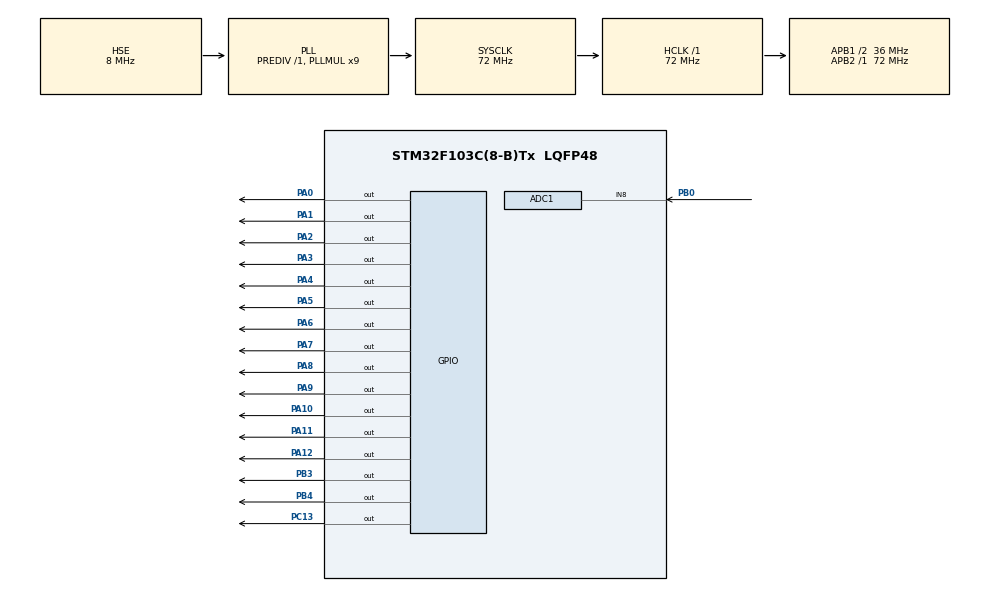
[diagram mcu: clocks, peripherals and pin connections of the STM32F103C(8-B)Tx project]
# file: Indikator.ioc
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ADC1.Channel-1\#ChannelRegularConversion=ADC_CHANNEL_8
ADC1.NbrOfConversion=1
ADC1.NbrOfConversionFlag=1
ADC1.Rank-1\#ChannelRegularConversion=1
ADC1.SamplingTime-1\#ChannelRegularConversion=ADC_SAMPLETIME_1CYCLE_5
ADC1.master=1
Mcu.Family=STM32F1
Mcu.Name=STM32F103C(8-B)Tx
Mcu.Package=LQFP48
NVIC.PriorityGroup=NVIC_PRIORITYGROUP_4
NVIC.TIM2_IRQn=true\:0\:0\:false\:false\:true\:true\:true
NVIC.TIM3_IRQn=true\:0\:0\:false\:false\:true\:true\:true
NVIC.TIM4_IRQn=true\:0\:0\:false\:false\:true\:true\:true
PA0-WKUP.GPIO_ModeDefaultOutputPP=GPIO_MODE_OUTPUT_OD
PA0-WKUP.GPIO_PuPd=GPIO_NOPULL
PA0-WKUP.GPIO_Speed=GPIO_SPEED_FREQ_HIGH
PA0-WKUP.Signal=GPIO_Output
PA1.GPIO_ModeDefaultOutputPP=GPIO_MODE_OUTPUT_OD
PA1.GPIO_PuPd=GPIO_NOPULL
PA1.GPIO_Speed=GPIO_SPEED_FREQ_HIGH
PA1.Signal=GPIO_Output
PA10.GPIO_Speed=GPIO_SPEED_FREQ_HIGH
PA10.Signal=GPIO_Output
PA11.GPIO_Speed=GPIO_SPEED_FREQ_HIGH
PA11.Signal=GPIO_Output
PA12.GPIO_Speed=GPIO_SPEED_FREQ_HIGH
PA12.Signal=GPIO_Output
PA13.Mode=Serial_Wire
PA13.Signal=SYS_JTMS-SWDIO
PA14.Mode=Serial_Wire
PA14.Signal=SYS_JTCK-SWCLK
PA2.GPIO_ModeDefaultOutputPP=GPIO_MODE_OUTPUT_OD
PA2.GPIO_PuPd=GPIO_NOPULL
PA2.GPIO_Speed=GPIO_SPEED_FREQ_HIGH
PA2.Signal=GPIO_Output
PA3.GPIO_ModeDefaultOutputPP=GPIO_MODE_OUTPUT_OD
PA3.GPIO_PuPd=GPIO_NOPULL
PA3.GPIO_Speed=GPIO_SPEED_FREQ_HIGH
PA3.Signal=GPIO_Output
PA4.GPIO_ModeDefaultOutputPP=GPIO_MODE_OUTPUT_OD
PA4.GPIO_PuPd=GPIO_NOPULL
PA4.GPIO_Speed=GPIO_SPEED_FREQ_HIGH
PA4.Signal=GPIO_Output
PA5.GPIO_ModeDefaultOutputPP=GPIO_MODE_OUTPUT_OD
PA5.GPIO_PuPd=GPIO_NOPULL
PA5.GPIO_Speed=GPIO_SPEED_FREQ_HIGH
PA5.Signal=GPIO_Output
PA6.GPIO_ModeDefaultOutputPP=GPIO_MODE_OUTPUT_OD
PA6.GPIO_PuPd=GPIO_NOPULL
PA6.GPIO_Speed=GPIO_SPEED_FREQ_HIGH
PA6.Signal=GPIO_Output
PA7.GPIO_ModeDefaultOutputPP=GPIO_MODE_OUTPUT_OD
PA7.GPIO_PuPd=GPIO_NOPULL
PA7.GPIO_Speed=GPIO_SPEED_FREQ_HIGH
PA7.Signal=GPIO_Output
PA8.GPIO_Speed=GPIO_SPEED_FREQ_HIGH
PA8.Signal=GPIO_Output
PA9.GPIO_Speed=GPIO_SPEED_FREQ_HIGH
PA9.Signal=GPIO_Output
PB0.Signal=ADCx_IN8
PB3.GPIO_Speed=GPIO_SPEED_FREQ_HIGH
PB3.Signal=GPIO_Output
PB4.GPIO_ModeDefaultOutputPP=GPIO_MODE_OUTPUT_PP
PB4.GPIO_PuPd=GPIO_PULLDOWN
PB4.GPIO_Speed=GPIO_SPEED_FREQ_HIGH
PB4.Signal=GPIO_Output
PC13-TAMPER-RTC.GPIO_Speed=GPIO_SPEED_FREQ_HIGH
PC13-TAMPER-RTC.Signal=GPIO_Output
PC14-OSC32_IN.Mode=LSE-External-Oscillator
PC14-OSC32_IN.Signal=RCC_OSC32_IN
PC15-OSC32_OUT.Mode=LSE-External-Oscillator
PC15-OSC32_OUT.Signal=RCC_OSC32_OUT
PD0-OSC_IN.Mode=HSE-External-Oscillator
PD0-OSC_IN.Signal=RCC_OSC_IN
PD1-OSC_OUT.Mode=HSE-External-Oscillator
PD1-OSC_OUT.Signal=RCC_OSC_OUT
ProjectManager.HeapSize=0x200
ProjectManager.StackSize=0x400
ProjectManager.TargetToolchain=EWARM V7
RCC.ADCPresc=RCC_ADCPCLK2_DIV6
RCC.AHBFreq_Value=72000000
RCC.APB1CLKDivider=RCC_HCLK_DIV2
RCC.APB1Freq_Value=36000000
RCC.APB1TimFreq_Value=72000000
RCC.APB2Freq_Value=72000000
RCC.APB2TimFreq_Value=72000000
RCC.HCLKFreq_Value=72000000
RCC.PLLMUL=RCC_PLL_MUL9
RCC.PLLSourceVirtual=RCC_PLLSOURCE_HSE
RCC.SYSCLKFreq_VALUE=72000000
RCC.SYSCLKSource=RCC_SYSCLKSOURCE_PLLCLK
RCC.USBFreq_Value=72000000
SH.ADCx_IN8.0=ADC1_IN8,IN8
TIM2.Period=40000
TIM2.Prescaler=31999
TIM3.Period=250
TIM3.Prescaler=31999
TIM4.Period=200
TIM4.Prescaler=31999
VP_TIM2_VS_ClockSourceINT.Mode=Internal
VP_TIM2_VS_OPM.Mode=OPM_bit
VP_TIM3_VS_ClockSourceINT.Mode=Internal
VP_TIM4_VS_ClockSourceINT.Mode=Internal
VP_TIM4_VS_OPM.Mode=OPM_bit
board=custom

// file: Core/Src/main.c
/* USER CODE BEGIN Header */
/**
  ******************************************************************************
  * @file           : main.c
  * @brief          : Main program body
  ******************************************************************************
  * @attention
  *
  * Copyright (c) 2022 STMicroelectronics.
  * All rights reserved.
  *
  * This software is licensed under terms that can be found in the LICENSE file
  * in the root directory of this software component.
  * If no LICENSE file comes with this software, it is provided AS-IS.
  *
  ******************************************************************************
  */
//==========================================================================
// Управление кухонной вытяжкой Krona Steel Jasmin 600 Smart Inox Glass 5P
// С автоматическим режимом
//
// Индикатор 7-сегментный
// a  - A0
// b  - A1
// c  - A2
// d  - A3
// e  - A4
// f  - A5
// g  - A6
// dp - A7
//
// Кнопки управления
// ON/OFF - A4
// +      - A0
// -      - A3
// AUTO   - A1
// LAMP   - A2
//
// Реле двигателя
// 1 скорость - A8
// 2 скорость - A9
// 3 скорость - A10
// 4 скорость - A11
// 5 скорость - A12
//
// Реле ламп подсветки
// B3
//
// Датчик воздуха
// АЦП B0
//==========================================================================

/* USER CODE END Header */
#include "main.h"
#include "adc.h"
#include "tim.h"
#include "gpio.h"

/* USER CODE BEGIN PV */

// Определения символов для семисегментного индикатора
uint8_t LIT_BLANK[8]    = {1,1,1,1,1,1,1,1};
uint8_t LIT_1[8]        = {1,0,0,1,1,1,1,1};
uint8_t LIT_2[8]        = {0,0,1,0,0,1,0,1};
uint8_t LIT_3[8]        = {0,0,0,0,1,1,0,1};
uint8_t LIT_4[8]        = {1,0,0,1,1,0,0,1};
uint8_t LIT_5[8]        = {0,1,0,0,1,0,0,1};
uint8_t LIT_A[8]        = {0,0,0,1,0,0,0,1};
uint8_t LIT_t[8]        = {1,1,1,0,0,0,0,1};

GPIO_InitTypeDef GPIO_InitStruct = {0};

// Переменные состояния кнопок
uint8_t VALCODE1 = 1;
uint8_t VALCODEOLD1 = 1;
uint8_t VALCODE2 = 1;
uint8_t VALCODEOLD2 = 1;
uint8_t VALCODE3 = 1;
uint8_t VALCODEOLD3 = 1;
uint8_t VALCODE4 = 1;
uint8_t VALCODEOLD4 = 1;
uint8_t VALCODE5= 1;
uint8_t VALCODEOLD5= 1;

uint8_t FlagPrintSpeed = 0;
uint8_t KeyPressFlag = 0;
uint8_t TimerFlag = 0;
uint8_t LAMP=0; // Состояние ламп подсветки
uint8_t SPEED = 0; // Скорость двигателя
uint8_t AUTO_ON = 0; // Состояние автоматического режима
uint8_t AUTO_count = 0;

int mq4_data = 0; //Данные АЦП

/* USER CODE END PV */

void SystemClock_Config(void);
/* USER CODE BEGIN PFP */

void PrintLit(uint8_t* LIT);    // Вывод символа на индикатор
void KeyScan(void);             // Опрос кнопок
void PrintSpeed(uint8_t Speed); // Вывод скорости двигателя на индикатор
int mq4_get_adc (void);         // Опрос АЦП

/* USER CODE END PFP */

int main(void)
{

  /* MCU Configuration--------------------------------------------------------*/

  /* Reset of all peripherals, Initializes the Flash interface and the Systick. */
  HAL_Init();

  /* Configure the system clock */
  SystemClock_Config();

  /* Initialize all configured peripherals */
  MX_GPIO_Init();
  MX_TIM3_Init();
  MX_ADC1_Init();
  MX_TIM4_Init();
  MX_TIM2_Init();
  /* USER CODE BEGIN 2 */
HAL_TIM_Base_Start_IT(&htim3); //Запуск таймера, раз в 50мс (опрос кнопок)
HAL_TIM_Base_Start_IT(&htim4);
HAL_GPIO_WritePin(GPIOB, GPIO_PIN_3, GPIO_PIN_SET); //Начальное состояние подсветки - выключено
HAL_ADC_Start(&hadc1); // Запуск АЦП
HAL_GPIO_WritePin(GPIOB,GPIO_PIN_4,GPIO_PIN_RESET);

  /* USER CODE END 2 */

  /* Infinite loop */
  while (1)
  {

    /* USER CODE BEGIN 3 */

  // Обработка флага прерывания таймера (каждые 50 мс)
  if (FlagPrintSpeed)
  {
    HAL_GPIO_WritePin(GPIOB,GPIO_PIN_4,GPIO_PIN_SET);
    FlagPrintSpeed = 0;
    KeyScan();
    HAL_GPIO_WritePin(GPIOB,GPIO_PIN_4,GPIO_PIN_RESET);
  }

  if (AUTO_count>80){AUTO_count = 0; mq4_data = mq4_get_adc();}

//==========================================================================
// Обработка управления двигателем
// В ручном режиме скорость двигателя зависит от переменной SPEED (от 0 до 5)
// 0 - все реле выключены, двигатель остановлен
// 1 - включено реле 1 скорости
// 2 - включено реле 2 скорости
// 3 - включено реле 3 скорости
// 4 - включено реле 4 скорости
// 5 - включено реле 5 скорости
// В автоматическом режиме значение переменной SPEED и соответствующее
// поведение двигателя определяется уровнем, получаемым с АЦП
// Выбор режима - переменная AUTO_ON
//==========================================================================
  if (AUTO_ON == 0)
  {
  switch (SPEED)
  {
  case 0: // мотор выключен
    HAL_GPIO_WritePin(GPIOA, GPIO_PIN_8 | GPIO_PIN_9 | GPIO_PIN_10 | GPIO_PIN_11 | GPIO_PIN_12, GPIO_PIN_SET);
    break;
  case 1: // 1-я скорость
    HAL_GPIO_WritePin(GPIOA, GPIO_PIN_8, GPIO_PIN_RESET);
    HAL_GPIO_WritePin(GPIOA, GPIO_PIN_9 | GPIO_PIN_10 | GPIO_PIN_11 | GPIO_PIN_12, GPIO_PIN_SET);
    break;
  case 2: // 2-я скорость
    HAL_GPIO_WritePin(GPIOA, GPIO_PIN_9, GPIO_PIN_RESET);
    HAL_GPIO_WritePin(GPIOA, GPIO_PIN_8 | GPIO_PIN_10 | GPIO_PIN_11 | GPIO_PIN_12, GPIO_PIN_SET);
    break;
  case 3: // 3-я скорость
    HAL_GPIO_WritePin(GPIOA, GPIO_PIN_10, GPIO_PIN_RESET);
    HAL_GPIO_WritePin(GPIOA, GPIO_PIN_8 | GPIO_PIN_9 | GPIO_PIN_11 | GPIO_PIN_12, GPIO_PIN_SET);
    break;
  case 4: // 4-я скорость
    HAL_GPIO_WritePin(GPIOA, GPIO_PIN_11, GPIO_PIN_RESET);
    HAL_GPIO_WritePin(GPIOA, GPIO_PIN_8 | GPIO_PIN_9 | GPIO_PIN_10 | GPIO_PIN_12, GPIO_PIN_SET);
    break;
  case 5: // 5-я скорость
    HAL_GPIO_WritePin(GPIOA, GPIO_PIN_12, GPIO_PIN_RESET);
    HAL_GPIO_WritePin(GPIOA, GPIO_PIN_8 | GPIO_PIN_9 | GPIO_PIN_10 | GPIO_PIN_11, GPIO_PIN_SET);
    break;
  }
  }else{

if (mq4_data>100 & mq4_data<400)
{
  SPEED=1;
    HAL_GPIO_WritePin(GPIOA, GPIO_PIN_8, GPIO_PIN_RESET);
    HAL_GPIO_WritePin(GPIOA, GPIO_PIN_9 | GPIO_PIN_10 | GPIO_PIN_11 | GPIO_PIN_12, GPIO_PIN_SET);

}else
if (mq4_data>500 & mq4_data<2150)
{
  SPEED=2;
    HAL_GPIO_WritePin(GPIOA, GPIO_PIN_9, GPIO_PIN_RESET);
    HAL_GPIO_WritePin(GPIOA, GPIO_PIN_8 | GPIO_PIN_10 | GPIO_PIN_11 | GPIO_PIN_12, GPIO_PIN_SET);

}else
if (mq4_data>2200 & mq4_data<2350)
{
  SPEED=3;
    HAL_GPIO_WritePin(GPIOA, GPIO_PIN_10, GPIO_PIN_RESET);
    HAL_GPIO_WritePin(GPIOA, GPIO_PIN_8 | GPIO_PIN_9 | GPIO_PIN_11 | GPIO_PIN_12, GPIO_PIN_SET);

}else
if (mq4_data>2400 & mq4_data<2550)
{
  SPEED=4;
    HAL_GPIO_WritePin(GPIOA, GPIO_PIN_11, GPIO_PIN_RESET);
    HAL_GPIO_WritePin(GPIOA, GPIO_PIN_8 | GPIO_PIN_9 | GPIO_PIN_10 | GPIO_PIN_12, GPIO_PIN_SET);

}else
if (mq4_data>2600)
{
  SPEED=5;
    HAL_GPIO_WritePin(GPIOA, GPIO_PIN_12, GPIO_PIN_RESET);
    HAL_GPIO_WritePin(GPIOA, GPIO_PIN_8 | GPIO_PIN_9 | GPIO_PIN_10 | GPIO_PIN_11, GPIO_PIN_SET);

}

  } // Завершение обработки управления двигателем

} // Завершение while
  /* USER CODE END 3 */
}

void SystemClock_Config(void)
{
  RCC_OscInitTypeDef RCC_OscInitStruct = {0};
  RCC_ClkInitTypeDef RCC_ClkInitStruct = {0};
  RCC_PeriphCLKInitTypeDef PeriphClkInit = {0};

  /** Initializes the RCC Oscillators according to the specified parameters
  * in the RCC_OscInitTypeDef structure.
  */
  RCC_OscInitStruct.OscillatorType = RCC_OSCILLATORTYPE_HSE;
  RCC_OscInitStruct.HSEState = RCC_HSE_ON;
  RCC_OscInitStruct.HSEPredivValue = RCC_HSE_PREDIV_DIV1;
  RCC_OscInitStruct.HSIState = RCC_HSI_ON;
  RCC_OscInitStruct.PLL.PLLState = RCC_PLL_ON;
  RCC_OscInitStruct.PLL.PLLSource = RCC_PLLSOURCE_HSE;
  RCC_OscInitStruct.PLL.PLLMUL = RCC_PLL_MUL9;
  if (HAL_RCC_OscConfig(&RCC_OscInitStruct) != HAL_OK)
  {
    Error_Handler();
  }
  /** Initializes the CPU, AHB and APB buses clocks
  */
  RCC_ClkInitStruct.ClockType = RCC_CLOCKTYPE_HCLK|RCC_CLOCKTYPE_SYSCLK
                              |RCC_CLOCKTYPE_PCLK1|RCC_CLOCKTYPE_PCLK2;
  RCC_ClkInitStruct.SYSCLKSource = RCC_SYSCLKSOURCE_PLLCLK;
  RCC_ClkInitStruct.AHBCLKDivider = RCC_SYSCLK_DIV1;
  RCC_ClkInitStruct.APB1CLKDivider = RCC_HCLK_DIV2;
  RCC_ClkInitStruct.APB2CLKDivider = RCC_HCLK_DIV1;

  if (HAL_RCC_ClockConfig(&RCC_ClkInitStruct, FLASH_LATENCY_2) != HAL_OK)
  {
    Error_Handler();
  }
  PeriphClkInit.PeriphClockSelection = RCC_PERIPHCLK_ADC;
  PeriphClkInit.AdcClockSelection = RCC_ADCPCLK2_DIV6;
  if (HAL_RCCEx_PeriphCLKConfig(&PeriphClkInit) != HAL_OK)
  {
    Error_Handler();
  }
}

/* USER CODE BEGIN 4 */

    int mq4_get_adc (void)
 {
 int mq4_adc_bits;
 HAL_ADC_Start(&hadc1);
 HAL_ADC_PollForConversion(&hadc1,100);
 mq4_adc_bits = HAL_ADC_GetValue(&hadc1);
 HAL_ADC_Stop(&hadc1);
    return mq4_adc_bits;
 }

void PrintLit(uint8_t* LIT)
{
  HAL_GPIO_WritePin(GPIOA,GPIO_PIN_0,LIT[0]);
  HAL_GPIO_WritePin(GPIOA,GPIO_PIN_1,LIT[1]);
  HAL_GPIO_WritePin(GPIOA,GPIO_PIN_2,LIT[2]);
  HAL_GPIO_WritePin(GPIOA,GPIO_PIN_3,LIT[3]);
  HAL_GPIO_WritePin(GPIOA,GPIO_PIN_4,LIT[4]);
  HAL_GPIO_WritePin(GPIOA,GPIO_PIN_5,LIT[5]);
  HAL_GPIO_WritePin(GPIOA,GPIO_PIN_6,LIT[6]);
  HAL_GPIO_WritePin(GPIOA,GPIO_PIN_7,LIT[7]);
 }

void PrintSpeed(uint8_t Speed)
{
  PrintLit(LIT_BLANK);
if(!TimerFlag)
{
if(AUTO_ON == 0)
{
switch (Speed)
{
case 1:
  PrintLit(LIT_1);
  break;
case 2:
  PrintLit(LIT_2);
  break;
case 3:
  PrintLit(LIT_3);
  break;
case 4:
  PrintLit(LIT_4);
  break;
case 5:
  PrintLit(LIT_5);
  break;
}
}else{
  PrintLit(LIT_A);
}
}else{
  PrintLit(LIT_t);
}
}

void KeyScan(void)
{

//Переключить пины кнопок на вход с подтяжкой к 1
    GPIO_InitStruct.Pin = GPIO_PIN_0|GPIO_PIN_1|GPIO_PIN_2|GPIO_PIN_3
                            |GPIO_PIN_4|GPIO_PIN_5|GPIO_PIN_6|GPIO_PIN_7;
    GPIO_InitStruct.Mode = GPIO_MODE_INPUT;
    GPIO_InitStruct.Pull = GPIO_PULLUP;
    HAL_GPIO_Init(GPIOA, &GPIO_InitStruct);

    AUTO_count++;
// Обработка кнопок

// Кнопка +
    VALCODE1 = HAL_GPIO_ReadPin(GPIOA,GPIO_PIN_0);
    if(VALCODE1!=VALCODEOLD1 & VALCODE1 == 0 & SPEED != 0)
    {

      HAL_TIM_Base_Stop_IT(&htim4);
      HAL_TIM_Base_Start_IT(&htim4);
      if(KeyPressFlag){
      KeyPressFlag = 0;
      VALCODE1 = HAL_GPIO_ReadPin(GPIOA,GPIO_PIN_0);
      if (VALCODE1 == 0){SPEED++;}
      if(SPEED>5){SPEED=5;}
      }
    }
    VALCODEOLD1 = VALCODE1;

// Кнопка -
    VALCODE2 = HAL_GPIO_ReadPin(GPIOA,GPIO_PIN_3);
    if(VALCODE2!=VALCODEOLD2 & VALCODE2 == 0 & SPEED != 0)
    {
      HAL_TIM_Base_Stop_IT(&htim4);
      HAL_TIM_Base_Start_IT(&htim4);
      if(KeyPressFlag){
      KeyPressFlag = 0;
      VALCODE2 = HAL_GPIO_ReadPin(GPIOA,GPIO_PIN_3);
      if (VALCODE2 == 0){SPEED--;}
      if(SPEED<1){SPEED=1;}
      }
    }
    VALCODEOLD2 = VALCODE2;

// Кнопка LAMP
VALCODE3 = HAL_GPIO_ReadPin(GPIOA,GPIO_PIN_2);
    if(VALCODE3!=VALCODEOLD3 & VALCODE3 == 0)
    {
      HAL_TIM_Base_Stop_IT(&htim4);
      HAL_TIM_Base_Start_IT(&htim4);
      if(KeyPressFlag){
      KeyPressFlag = 0;
        VALCODE3 = HAL_GPIO_ReadPin(GPIOA,GPIO_PIN_2);
      if (LAMP == 0)
      {
        if (VALCODE3 == 0){HAL_GPIO_WritePin(GPIOB, GPIO_PIN_3, GPIO_PIN_RESET); LAMP = 1;}
      }else
      {
        if (VALCODE3 == 0){HAL_GPIO_WritePin(GPIOB, GPIO_PIN_3, GPIO_PIN_SET); LAMP = 0;}
      }
      }
    }
    VALCODEOLD3 = VALCODE3;
// Кнопка ON/OFF
    VALCODE4 = HAL_GPIO_ReadPin(GPIOA,GPIO_PIN_4);
    if(VALCODE4!=VALCODEOLD4 & VALCODE4 == 0)
    {
      HAL_TIM_Base_Stop_IT(&htim4);
      HAL_TIM_Base_Start_IT(&htim4);
      if(KeyPressFlag){
      KeyPressFlag = 0;
      VALCODE4 = HAL_GPIO_ReadPin(GPIOA,GPIO_PIN_4);
      if (TimerFlag && VALCODE4 == 0){TimerFlag = 0; AUTO_ON = 0; SPEED = 0;}else{
          if (SPEED == 0)
      {
        if (VALCODE4 == 0){SPEED = 2;}
      }else
      {
        HAL_TIM_Base_Stop_IT(&htim2);
        HAL_TIM_Base_Start_IT(&htim2);
          TimerFlag = 1;
      }
      }}
    }
/*
          if (SPEED == 0)
      {
        if (VALCODE4 == 0){SPEED = 2;}
      }else
      {
        if (VALCODE4 == 0){SPEED = 0;}
     }
*/

    VALCODEOLD4 = VALCODE4;

    // Кнопка AUTO
    VALCODE5 = HAL_GPIO_ReadPin(GPIOA,GPIO_PIN_1);
    if(VALCODE5!=VALCODEOLD5 & VALCODE5 == 0 & SPEED != 0)
    {
      HAL_TIM_Base_Stop_IT(&htim4);
      HAL_TIM_Base_Start_IT(&htim4);
      if(KeyPressFlag){
      KeyPressFlag = 0;
      VALCODE5 = HAL_GPIO_ReadPin(GPIOA,GPIO_PIN_1);
      if (AUTO_ON == 0)
      {
        if (VALCODE5 == 0){AUTO_ON = 1;}

      }else
      {
        if (VALCODE5 == 0){AUTO_ON = 0;}
      }
      }
    }
    VALCODEOLD5 = VALCODE5;

// Вернуть пины кнопок в режим выхода с ОК
    GPIO_InitStruct.Pin = GPIO_PIN_0|GPIO_PIN_1|GPIO_PIN_2|GPIO_PIN_3
                          |GPIO_PIN_4|GPIO_PIN_5|GPIO_PIN_6|GPIO_PIN_7;
    GPIO_InitStruct.Mode = GPIO_MODE_OUTPUT_OD;
    GPIO_InitStruct.Pull = GPIO_NOPULL;
    GPIO_InitStruct.Speed = GPIO_SPEED_FREQ_HIGH;
    HAL_GPIO_Init(GPIOA, &GPIO_InitStruct);

// Обновить индикатор
    PrintSpeed(SPEED);
}

void HAL_TIM_PeriodElapsedCallback (TIM_HandleTypeDef *htim)
{
  if(htim->Instance == TIM3)
  {
    FlagPrintSpeed = 1;
    HAL_GPIO_TogglePin(GPIOC,GPIO_PIN_13);
  }

  if(htim->Instance == TIM4)
  {
    KeyPressFlag = 1;
  }

  if(htim->Instance == TIM2)
  {
    TimerFlag = 0;
    AUTO_ON = 0;
    SPEED = 0;
  }
}
/* USER CODE END 4 */

void Error_Handler(void)
{
  __disable_irq();
  while (1)
  {
  }
}
